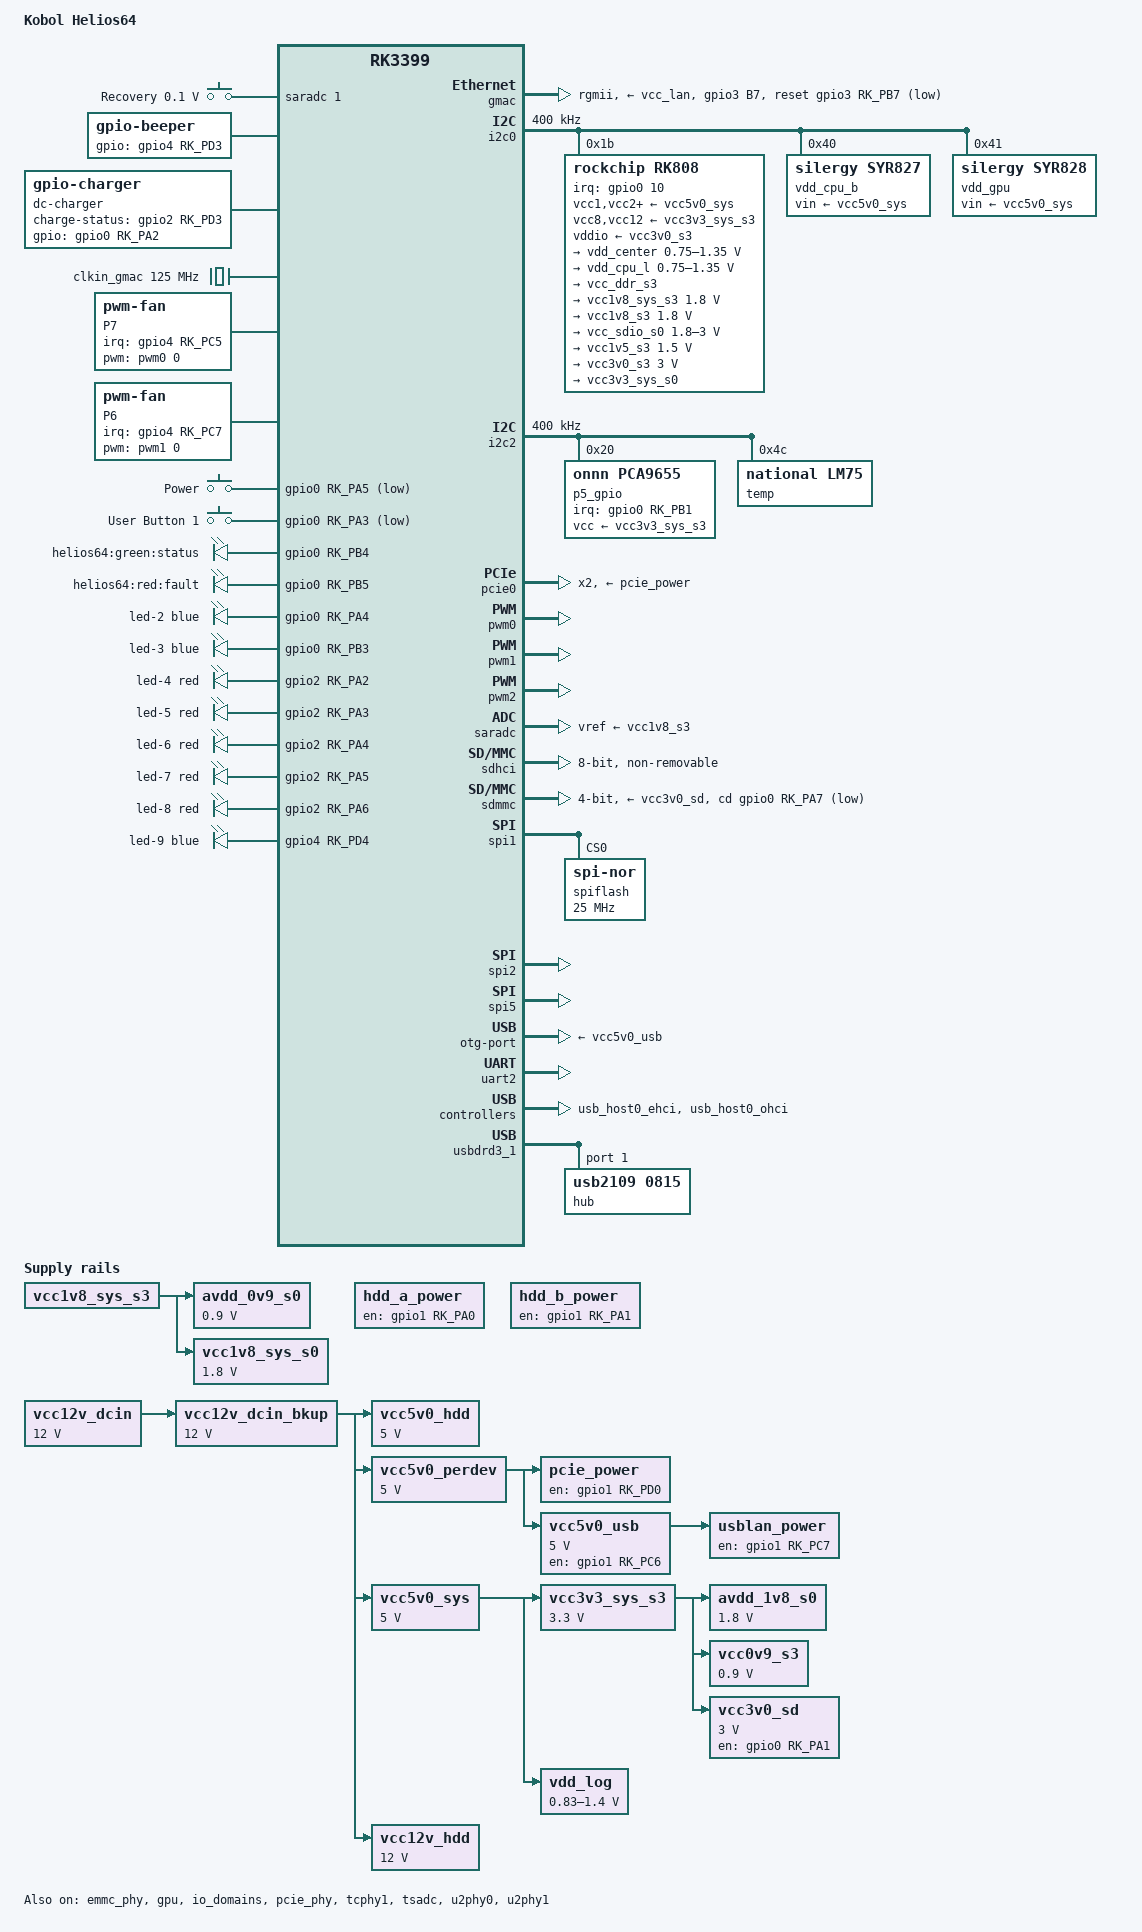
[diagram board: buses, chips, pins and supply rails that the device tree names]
// SPDX-License-Identifier: (GPL-2.0+ OR MIT)
/*
 * Copyright (c) 2020 Aditya Prayoga <aditya@kobol.io>
 */

/*
 * The Kobol Helios64 is a board designed to operate as a NAS and optionally
 * ships with an enclosing that can host five 2.5" hard disks.
 *
 * See https://wiki.kobol.io/helios64/intro/ for further details.
 */

/dts-v1/;
#include <dt-bindings/input/input.h>
#include <dt-bindings/leds/common.h>
#include "rk3399.dtsi"

/ {
	model = "Kobol Helios64";
	compatible = "kobol,helios64", "rockchip,rk3399";

	aliases {
		ethernet0 = &gmac;
		mmc0 = &sdmmc;
		mmc1 = &sdhci;
	};

	adc-keys {
		compatible = "adc-keys";
		io-channels = <&saradc 1>;
		io-channel-names = "buttons";
		keyup-threshold-microvolt = <1800000>;
		poll-interval = <100>;

		button-recovery {
			label = "Recovery";
			linux,code = <BTN_1>;
			press-threshold-microvolt = <100000>;
		};
	};

	avdd_0v9_s0: regulator-avdd-0v9-s0 {
		compatible = "regulator-fixed";
		regulator-name = "avdd_0v9_s0";
		regulator-always-on;
		regulator-boot-on;
		regulator-min-microvolt = <900000>;
		regulator-max-microvolt = <900000>;
		vin-supply = <&vcc1v8_sys_s3>;
	};

	avdd_1v8_s0: regulator-avdd-1v8-s0 {
		compatible = "regulator-fixed";
		regulator-name = "avdd_1v8_s0";
		regulator-always-on;
		regulator-boot-on;
		regulator-min-microvolt = <1800000>;
		regulator-max-microvolt = <1800000>;
		vin-supply = <&vcc3v3_sys_s3>;
	};

	beeper {
		compatible = "gpio-beeper";
		gpios = <&gpio4 RK_PD3 GPIO_ACTIVE_HIGH>;
	};

	chosen {
		stdout-path = "serial2:1500000n8";
	};

	dc-charger {
		compatible = "gpio-charger";
		charger-type = "mains";
		charge-status-gpios = <&gpio2 RK_PD3 GPIO_ACTIVE_HIGH>;
		gpios = <&gpio0 RK_PA2 GPIO_ACTIVE_HIGH>;
		pinctrl-names = "default";
		pinctrl-0 = <&dcin_good>, <&charger_status>;
	};

	clkin_gmac: external-gmac-clock {
		compatible = "fixed-clock";
		clock-frequency = <125000000>;
		clock-output-names = "clkin_gmac";
		#clock-cells = <0>;
	};

	fan1 {
		compatible = "pwm-fan";
		label = "P7";
		pwms = <&pwm0 0 40000 0>;
		cooling-levels = <0 80 170 255>;
		interrupt-parent = <&gpio4>;
		interrupts = <RK_PC5 IRQ_TYPE_EDGE_FALLING>;
		pinctrl-names = "default";
		pinctrl-0 = <&fan1_sense>;
	};

	fan2 {
		compatible = "pwm-fan";
		label = "P6";
		pwms = <&pwm1 0 40000 0>;
		cooling-levels = <0 80 170 255>;
		interrupt-parent = <&gpio4>;
		interrupts = <RK_PC7 IRQ_TYPE_EDGE_FALLING>;
		pinctrl-names = "default";
		pinctrl-0 = <&fan2_sense>;
	};

	gpio-keys {
		compatible = "gpio-keys";
		pinctrl-names = "default";
		pinctrl-0 = <&pwr_btn &user1_btn>;

		button-power {
			debounce-interval = <100>;
			gpios = <&gpio0 RK_PA5 GPIO_ACTIVE_LOW>;
			label = "Power";
			linux,code = <KEY_POWER>;
			wakeup-source;
		};

		button-user1 {
			debounce-interval = <100>;
			gpios = <&gpio0 RK_PA3 GPIO_ACTIVE_LOW>;
			label = "User Button 1";
			linux,code = <BTN_0>;
		};
	};

	leds {
		compatible = "gpio-leds";
		pinctrl-names = "default";
		pinctrl-0 = <&sys_grn_led_on &sys_red_led_on &netw_act_led_on
			     &usb3_act_led_on &sata_err_led_on &sata_act_led>;

		led-0 {
			label = "helios64:green:status";
			gpios = <&gpio0 RK_PB4 GPIO_ACTIVE_HIGH>;
			default-state = "on";
		};

		led-1 {
			label = "helios64:red:fault";
			gpios = <&gpio0 RK_PB5 GPIO_ACTIVE_HIGH>;
			default-state = "keep";
		};

		led-2 {
			color = <LED_COLOR_ID_BLUE>;
			function = LED_FUNCTION_LAN;
			gpios = <&gpio0 RK_PA4 GPIO_ACTIVE_HIGH>;
		};

		led-3 {
			color = <LED_COLOR_ID_BLUE>;
			function = LED_FUNCTION_USB;
			gpios = <&gpio0 RK_PB3 GPIO_ACTIVE_HIGH>;
		};

		led-4 {
			color = <LED_COLOR_ID_RED>;
			function = LED_FUNCTION_DISK_ERR;
			function-enumerator = <1>;
			gpios = <&gpio2 RK_PA2 GPIO_ACTIVE_HIGH>;
		};

		led-5 {
			color = <LED_COLOR_ID_RED>;
			function = LED_FUNCTION_DISK_ERR;
			function-enumerator = <2>;
			gpios = <&gpio2 RK_PA3 GPIO_ACTIVE_HIGH>;
		};

		led-6 {
			color = <LED_COLOR_ID_RED>;
			function = LED_FUNCTION_DISK_ERR;
			function-enumerator = <3>;
			gpios = <&gpio2 RK_PA4 GPIO_ACTIVE_HIGH>;
		};

		led-7 {
			color = <LED_COLOR_ID_RED>;
			function = LED_FUNCTION_DISK_ERR;
			function-enumerator = <4>;
			gpios = <&gpio2 RK_PA5 GPIO_ACTIVE_HIGH>;
		};

		led-8 {
			color = <LED_COLOR_ID_RED>;
			function = LED_FUNCTION_DISK_ERR;
			function-enumerator = <5>;
			gpios = <&gpio2 RK_PA6 GPIO_ACTIVE_HIGH>;
		};

		led-9 {
			color = <LED_COLOR_ID_BLUE>;
			function = LED_FUNCTION_DISK_ACTIVITY;
			gpios = <&gpio4 RK_PD4 GPIO_ACTIVE_HIGH>;
			default-state = "on";
		};
	};

	hdd_a_power: regulator-hdd-a-power {
		compatible = "regulator-fixed";
		enable-active-high;
		gpio = <&gpio1 RK_PA0 GPIO_ACTIVE_HIGH>;
		pinctrl-0 = <&hdd_a_power_en>;
		pinctrl-names = "default";
		regulator-always-on;
		regulator-boot-on;
		regulator-name = "hdd_a_power";
		startup-delay-us = <2000000>;
	};

	hdd_b_power: regulator-hdd-b-power {
		compatible = "regulator-fixed";
		enable-active-high;
		gpio = <&gpio1 RK_PA1 GPIO_ACTIVE_HIGH>;
		pinctrl-0 = <&hdd_b_power_en>;
		pinctrl-names = "default";
		regulator-always-on;
		regulator-boot-on;
		regulator-name = "hdd_b_power";
		startup-delay-us = <2000000>;
	};

	pcie_power: regulator-pcie-power {
		compatible = "regulator-fixed";
		enable-active-high;
		gpio = <&gpio1 RK_PD0 GPIO_ACTIVE_HIGH>;
		pinctrl-0 = <&pcie_pwr>;
		pinctrl-names = "default";
		regulator-boot-on;
		regulator-name = "pcie_power";
		startup-delay-us = <10000>;
		vin-supply = <&vcc5v0_perdev>;
	};

	usblan_power: regulator-usblan-power {
		compatible = "regulator-fixed";
		enable-active-high;
		gpio = <&gpio1 RK_PC7 GPIO_ACTIVE_HIGH>;
		pinctrl-names = "default";
		pinctrl-0 = <&usb_lan_en>;
		regulator-name = "usblan_power";
		regulator-always-on;
		regulator-boot-on;
		vin-supply = <&vcc5v0_usb>;
	};

	vcc0v9_s3: regulator-vcc0v9-s3 {
		compatible = "regulator-fixed";
		regulator-name = "vcc0v9_s3";
		regulator-always-on;
		regulator-boot-on;
		regulator-min-microvolt = <900000>;
		regulator-max-microvolt = <900000>;
		vin-supply = <&vcc3v3_sys_s3>;
	};

	vcc1v8_sys_s0: regulator-vcc1v8-sys-s0 {
		compatible = "regulator-fixed";
		regulator-name = "vcc1v8_sys_s0";
		regulator-always-on;
		regulator-boot-on;
		regulator-min-microvolt = <1800000>;
		regulator-max-microvolt = <1800000>;
		vin-supply = <&vcc1v8_sys_s3>;
	};

	vcc3v0_sd: regulator-vcc3v0-sd {
		compatible = "regulator-fixed";
		enable-active-high;
		gpio = <&gpio0 RK_PA1 GPIO_ACTIVE_HIGH>;
		regulator-name = "vcc3v0_sd";
		regulator-boot-on;
		regulator-min-microvolt = <3000000>;
		regulator-max-microvolt = <3000000>;
		pinctrl-names = "default";
		pinctrl-0 = <&sdmmc0_pwr_h>;
		vin-supply = <&vcc3v3_sys_s3>;
	};

	vcc3v3_sys_s3: vcc_lan: regulator-vcc3v3-sys-s3 {
		compatible = "regulator-fixed";
		regulator-name = "vcc3v3_sys_s3";
		regulator-always-on;
		regulator-boot-on;
		regulator-min-microvolt = <3300000>;
		regulator-max-microvolt = <3300000>;
		vin-supply = <&vcc5v0_sys>;

		regulator-state-mem {
			regulator-on-in-suspend;
		};
	};

	vcc5v0_hdd: regulator-vcc5v0-hdd {
		compatible = "regulator-fixed";
		regulator-name = "vcc5v0_hdd";
		regulator-always-on;
		regulator-boot-on;
		regulator-min-microvolt = <5000000>;
		regulator-max-microvolt = <5000000>;
		vin-supply = <&vcc12v_dcin_bkup>;
	};

	vcc5v0_perdev: regulator-vcc5v0-perdev {
		compatible = "regulator-fixed";
		regulator-name = "vcc5v0_perdev";
		regulator-always-on;
		regulator-boot-on;
		regulator-min-microvolt = <5000000>;
		regulator-max-microvolt = <5000000>;
		vin-supply = <&vcc12v_dcin_bkup>;
	};

	vcc5v0_sys: regulator-vcc5v0-sys {
		compatible = "regulator-fixed";
		regulator-name = "vcc5v0_sys";
		regulator-always-on;
		regulator-boot-on;
		regulator-min-microvolt = <5000000>;
		regulator-max-microvolt = <5000000>;
		vin-supply = <&vcc12v_dcin_bkup>;

		regulator-state-mem {
			regulator-on-in-suspend;
		};
	};

	vcc5v0_usb: regulator-vcc5v0-usb {
		compatible = "regulator-fixed";
		enable-active-high;
		gpio = <&gpio1 RK_PC6 GPIO_ACTIVE_HIGH>;
		pinctrl-names = "default";
		pinctrl-0 = <&vcc5v0_usb_en>;
		regulator-name = "vcc5v0_usb";
		regulator-always-on;
		regulator-boot-on;
		regulator-min-microvolt = <5000000>;
		regulator-max-microvolt = <5000000>;
		vin-supply = <&vcc5v0_perdev>;
	};

	vcc12v_dcin: regulator-vcc12v-dcin {
		compatible = "regulator-fixed";
		regulator-name = "vcc12v_dcin";
		regulator-always-on;
		regulator-boot-on;
		regulator-min-microvolt = <12000000>;
		regulator-max-microvolt = <12000000>;
	};

	vcc12v_dcin_bkup: regulator-vcc12v-dcin-bkup {
		compatible = "regulator-fixed";
		regulator-name = "vcc12v_dcin_bkup";
		regulator-always-on;
		regulator-boot-on;
		regulator-min-microvolt = <12000000>;
		regulator-max-microvolt = <12000000>;
		vin-supply = <&vcc12v_dcin>;
	};

	vcc12v_hdd: regulator-vcc12v-hdd {
		compatible = "regulator-fixed";
		regulator-name = "vcc12v_hdd";
		regulator-always-on;
		regulator-boot-on;
		regulator-min-microvolt = <12000000>;
		regulator-max-microvolt = <12000000>;
		vin-supply = <&vcc12v_dcin_bkup>;
	};

	vdd_log: regulator-vdd-log {
		compatible = "pwm-regulator";
		pwms = <&pwm2 0 25000 1>;
		pwm-supply = <&vcc5v0_sys>;
		regulator-name = "vdd_log";
		regulator-always-on;
		regulator-boot-on;
		regulator-min-microvolt = <830000>;
		regulator-max-microvolt = <1400000>;
	};
};

&cpu_b0 {
	cpu-supply = <&vdd_cpu_b>;
};

&cpu_b1 {
	cpu-supply = <&vdd_cpu_b>;
};

&cpu_l0 {
	cpu-supply = <&vdd_cpu_l>;
};

&cpu_l1 {
	cpu-supply = <&vdd_cpu_l>;
};

&cpu_l2 {
	cpu-supply = <&vdd_cpu_l>;
};

&cpu_l3 {
	cpu-supply = <&vdd_cpu_l>;
};

&emmc_phy {
	rockchip,enable-strobe-pulldown;
	status = "okay";
};

&gmac {
	assigned-clock-parents = <&clkin_gmac>;
	assigned-clocks = <&cru SCLK_RMII_SRC>;
	clock_in_out = "input";
	phy-mode = "rgmii";
	phy-supply = <&vcc_lan>;
	pinctrl-names = "default";
	pinctrl-0 = <&rgmii_pins &gphy_reset>;
	rx_delay = <0x20>;
	tx_delay = <0x28>;
	snps,reset-active-low;
	snps,reset-delays-us = <0 10000 50000>;
	snps,reset-gpio = <&gpio3 RK_PB7 GPIO_ACTIVE_LOW>;
	status = "okay";
};

/* Line names follow the Helios64 Rev1.2 schematic */
&gpio0 {
	gpio-line-names =
		/* GPIO0 A0-A7 */
		"RTC_CLK0_SOC", "SDMMC0_PWR_H", "VCC12V_DCIN_GOOD", "USR1_SWITCH#",
		"NETW_ACT_LED_ON", "PWR_KEY_L", "PWR_LED_OFF", "SDMMC0_DET_L",
		/* GPIO0 B0-B5 */
		"LAN_WAKE#", "EXP16_INT#", "PMIC_INT#", "USB3_ACT_LED_ON",
		"SYS_GRN_LED_ON", "SYS_RED_LED_ON";
};

&gpio1 {
	gpio-line-names =
		/* GPIO1 A0-A7 */
		"HDD_A_ON", "HDD_B_ON", "TYPEC0_CC_INT_L", "VCC5V0_TYPEC0_EN",
		"USB_MUX_HS", "PMIC_SLEEP_H", "OTP_OUT_H", "SOC_SO",
		/* GPIO1 B0-B7 */
		"SOC_SI", "SOC_CK", "SOC_CE#", "I2C4_SDA_TYPEC",
		"I2C4_SCL_TYPEC", "USB_MUX_OE", "GPU_SLEEP_H", "I2C0_SDA_PMIC",
		/* GPIO1 C0-C7 */
		"I2C0_SCL_PMIC", "CPU_SLEEP_B_H", "SOC_WP#", "LOG_DVS_PWM",
		"I2C8_SDA", "I2C8_SCL", "USB3_EN", "USB3LAN_PWR",
		/* GPIO1 D0 */
		"PCIE_PWR";
};

&gpio2 {
	gpio-line-names =
		/* GPIO2 A0-A7 */
		"I2C2_SDA_TEMP_EXP", "I2C2_SCL_TEMP_EXP", "SATA_ERR0", "SATA_ERR1",
		"SATA_ERR2", "SATA_ERR3", "SATA_ERR4", "I2C7_SDA",
		/* GPIO2 B0-B7 */
		"I2C7_SCL", "SPI2_RXD", "SPI2_TXD", "SPI2_CLK",
		"SPI2_CSN0", "", "", "",
		/* GPIO2 C0-C7 */
		"UART0_RX", "UART0_TX", "", "",
		"SATA_SO_LV", "SATA_SI_LV", "SATA_CK_LV", "SATA_CE#_LV",
		/* GPIO2 D0-D4 */
		"SATA_WP#_LV", "PCIE_CLKREQ_L", "", "CHARGER_STATUS#",
		"PCIE_PERST_L";
};

&gpio3 {
	gpio-line-names =
		/* GPIO3 A0-A7 */
		"RGMII_TXD2", "RGMII_TXD3", "RGMII_RXD2", "RGMII_RXD3",
		"RGMII_TXD0", "RGMII_TXD1", "RGMII_RXD0", "RGMII_RXD1",
		/* GPIO3 B0-B7 */
		"GMAC_MDC", "RGMII_RXCTL", "", "GMAC_CLK",
		"RGMII_TXCTL", "GMAC_MDIO", "RGMII_RXC", "GPHY_RST#",
		/* GPIO3 C0-C7 */
		"", "RGMII_TXC", "", "",
		"", "", "", "",
		/* GPIO3 D0-D7 */
		"", "", "", "",
		"", "", "ERR1_B", "ERR1_A";
};

&gpio4 {
	gpio-line-names =
		/* GPIO4 A0-A7 */
		"", "ERR0_B", "", "",
		"", "ERR0_A", "", "",
		/* GPIO4 B0-B7 */
		"SDMMC0_D0", "SDMMC0_D1", "SDMMC0_D2", "SDMMC0_D3",
		"SDMMC0_CLKOUT", "SDMMC0_CMD", "", "",
		/* GPIO4 C0-C7 */
		"", "", "FAN1_PWM", "UART2DBG_RX",
		"UART2DBG_TX", "FAN1_SENSE", "FAN2_PWM", "FAN2_SENSE",
		/* GPIO4 D0-D6 */
		"SATA_SPI_FLSH", "AUTO_ON_EN_D", "AUTO_ON_EN_CLK", "BUZZER_ON",
		"SATA_ACT_LED", "BOARD_REV_ID0", "BOARD_REV_ID1";
};

&gpu {
	mali-supply = <&vdd_gpu>;
	status = "okay";
};

&i2c0 {
	clock-frequency = <400000>;
	i2c-scl-rising-time-ns = <168>;
	i2c-scl-falling-time-ns = <4>;
	status = "okay";

	rk808: pmic@1b {
		compatible = "rockchip,rk808";
		reg = <0x1b>;
		interrupt-parent = <&gpio0>;
		interrupts = <10 IRQ_TYPE_LEVEL_LOW>;
		clock-output-names = "xin32k", "rk808-clkout2";
		pinctrl-names = "default";
		pinctrl-0 = <&pmic_int_l>;
		system-power-controller;
		vcc1-supply = <&vcc5v0_sys>;
		vcc2-supply = <&vcc5v0_sys>;
		vcc3-supply = <&vcc5v0_sys>;
		vcc4-supply = <&vcc5v0_sys>;
		vcc6-supply = <&vcc5v0_sys>;
		vcc7-supply = <&vcc5v0_sys>;
		vcc8-supply = <&vcc3v3_sys_s3>;
		vcc9-supply = <&vcc5v0_sys>;
		vcc10-supply = <&vcc5v0_sys>;
		vcc11-supply = <&vcc5v0_sys>;
		vcc12-supply = <&vcc3v3_sys_s3>;
		vddio-supply = <&vcc3v0_s3>;
		wakeup-source;
		#clock-cells = <1>;

		regulators {
			vdd_center: DCDC_REG1 {
				regulator-name = "vdd_center";
				regulator-always-on;
				regulator-boot-on;
				regulator-min-microvolt = <750000>;
				regulator-max-microvolt = <1350000>;
				regulator-ramp-delay = <6001>;
			};

			vdd_cpu_l: DCDC_REG2 {
				regulator-name = "vdd_cpu_l";
				regulator-always-on;
				regulator-boot-on;
				regulator-min-microvolt = <750000>;
				regulator-max-microvolt = <1350000>;
				regulator-ramp-delay = <6001>;

				regulator-state-mem {
					regulator-off-in-suspend;
				};
			};

			vcc_ddr_s3: DCDC_REG3 {
				regulator-name = "vcc_ddr_s3";
				regulator-always-on;
				regulator-boot-on;

				regulator-state-mem {
					regulator-on-in-suspend;
				};
			};

			vcc1v8_sys_s3: DCDC_REG4 {
				regulator-name = "vcc1v8_sys_s3";
				regulator-always-on;
				regulator-boot-on;
				regulator-min-microvolt = <1800000>;
				regulator-max-microvolt = <1800000>;

				regulator-state-mem {
					regulator-on-in-suspend;
					regulator-suspend-microvolt = <1800000>;
				};
			};

			vcc1v8_s3: LDO_REG3 {
				regulator-name = "vcc1v8_s3";
				regulator-always-on;
				regulator-boot-on;
				regulator-min-microvolt = <1800000>;
				regulator-max-microvolt = <1800000>;

				regulator-state-mem {
					regulator-on-in-suspend;
					regulator-suspend-microvolt = <1800000>;
				};
			};

			vcc_sdio_s0: LDO_REG4 {
				regulator-name = "vcc_sdio_s0";
				regulator-always-on;
				regulator-boot-on;
				regulator-min-microvolt = <1800000>;
				regulator-max-microvolt = <3000000>;

				regulator-state-mem {
					regulator-on-in-suspend;
					regulator-suspend-microvolt = <3000000>;
				};
			};

			vcc1v5_s3: LDO_REG6 {
				regulator-name = "vcc1v5_s3";
				regulator-always-on;
				regulator-boot-on;
				regulator-min-microvolt = <1500000>;
				regulator-max-microvolt = <1500000>;

				regulator-state-mem {
					regulator-on-in-suspend;
					regulator-suspend-microvolt = <1500000>;
				};
			};

			vcc3v0_s3: LDO_REG8 {
				regulator-name = "vcc3v0_s3";
				regulator-always-on;
				regulator-boot-on;
				regulator-min-microvolt = <3000000>;
				regulator-max-microvolt = <3000000>;

				regulator-state-mem {
					regulator-on-in-suspend;
					regulator-suspend-microvolt = <3000000>;
				};
			};

			vcc3v3_sys_s0: SWITCH_REG1 {
				regulator-name = "vcc3v3_sys_s0";
				regulator-always-on;
				regulator-boot-on;

				regulator-state-mem {
					regulator-off-in-suspend;
				};
			};
		};
	};

	vdd_cpu_b: regulator@40 {
		compatible = "silergy,syr827";
		reg = <0x40>;
		fcs,suspend-voltage-selector = <1>;
		regulator-name = "vdd_cpu_b";
		regulator-always-on;
		regulator-boot-on;
		regulator-min-microvolt = <712500>;
		regulator-max-microvolt = <1500000>;
		regulator-ramp-delay = <40000>;
		vin-supply = <&vcc5v0_sys>;

		regulator-state-mem {
			regulator-off-in-suspend;
		};
	};

	vdd_gpu: regulator@41 {
		compatible = "silergy,syr828";
		reg = <0x41>;
		fcs,suspend-voltage-selector = <1>;
		pinctrl-names = "default";
		pinctrl-0 = <&vsel2_pin>;
		regulator-name = "vdd_gpu";
		regulator-always-on;
		regulator-boot-on;
		regulator-min-microvolt = <712500>;
		regulator-max-microvolt = <1500000>;
		regulator-ramp-delay = <1000>;
		vin-supply = <&vcc5v0_sys>;

		regulator-state-mem {
			regulator-off-in-suspend;
		};
	};
};

&i2c2 {
	clock-frequency = <400000>;
	i2c-scl-rising-time-ns = <160>;
	i2c-scl-falling-time-ns = <30>;
	status = "okay";

	p5_gpio: gpio@20 {
		compatible = "onnn,pca9655", "nxp,pca9555";
		reg = <0x20>;
		gpio-controller;
		#gpio-cells = <2>;
		/* All 16 lines go to pins 4-19 of the P5 GPIO header */
		gpio-line-names = "PIN_4", "PIN_5", "PIN_6", "PIN_7",
				  "PIN_8", "PIN_9", "PIN_10", "PIN_11",
				  "PIN_12", "PIN_13", "PIN_14", "PIN_15",
				  "PIN_16", "PIN_17", "PIN_18", "PIN_19";
		interrupt-controller;
		#interrupt-cells = <2>;
		interrupt-parent = <&gpio0>;
		interrupts = <RK_PB1 IRQ_TYPE_LEVEL_LOW>;
		pinctrl-names = "default";
		pinctrl-0 = <&exp16_int_l>;
		vcc-supply = <&vcc3v3_sys_s3>;
	};

	temp@4c {
		compatible = "national,lm75";
		reg = <0x4c>;
	};
};

&io_domains {
	audio-supply = <&vcc1v8_sys_s0>;
	bt656-supply = <&vcc1v8_sys_s0>;
	gpio1830-supply = <&vcc3v0_s3>;
	sdmmc-supply = <&vcc_sdio_s0>;
	status = "okay";
};

&pcie_phy {
	status = "okay";
};

&pcie0 {
	ep-gpios = <&gpio2 RK_PD4 GPIO_ACTIVE_HIGH>;
	num-lanes = <2>;
	status = "okay";

	vpcie12v-supply = <&vcc12v_dcin>;
	vpcie3v3-supply = <&pcie_power>;
	vpcie1v8-supply = <&avdd_1v8_s0>;
	vpcie0v9-supply = <&avdd_0v9_s0>;
};

&pinctrl {
	buttons {
		pwr_btn: pwr-btn {
			rockchip,pins = <0 RK_PA5 RK_FUNC_GPIO &pcfg_pull_up>;
		};

		user1_btn: user1-btn {
			rockchip,pins = <0 RK_PA3 RK_FUNC_GPIO &pcfg_pull_none>;
		};
	};

	expander {
		exp16_int_l: exp16-int-l {
			rockchip,pins = <0 RK_PB1 RK_FUNC_GPIO &pcfg_pull_none>;
		};
	};

	fan {
		fan1_sense: fan1-sense {
			rockchip,pins = <4 RK_PC5 RK_FUNC_GPIO &pcfg_pull_none>;
		};

		fan2_sense: fan2-sense {
			rockchip,pins = <4 RK_PC7 RK_FUNC_GPIO &pcfg_pull_none>;
		};
	};

	charger {
		charger_status: charger-status {
			rockchip,pins = <2 RK_PD3 RK_FUNC_GPIO &pcfg_pull_none>;
		};

		dcin_good: dcin-good {
			rockchip,pins = <0 RK_PA2 RK_FUNC_GPIO &pcfg_pull_none>;
		};
	};

	gmac {
		gphy_reset: gphy-reset {
			rockchip,pins = <3 RK_PB7 RK_FUNC_GPIO &pcfg_output_low>;
		};
	};

	leds {
		netw_act_led_on: netw-act-led-on {
			rockchip,pins = <0 RK_PA4 RK_FUNC_GPIO &pcfg_pull_down>;
		};

		sata_act_led: sata-act-led {
			rockchip,pins = <4 RK_PD4 RK_FUNC_GPIO &pcfg_pull_down>;
		};

		sata_err_led_on: sata-err-led-on {
			rockchip,pins = <2 RK_PA2 RK_FUNC_GPIO &pcfg_pull_down>,
					<2 RK_PA3 RK_FUNC_GPIO &pcfg_pull_down>,
					<2 RK_PA4 RK_FUNC_GPIO &pcfg_pull_down>,
					<2 RK_PA5 RK_FUNC_GPIO &pcfg_pull_down>,
					<2 RK_PA6 RK_FUNC_GPIO &pcfg_pull_down>;
		};

		sys_grn_led_on: sys-grn-led-on {
			rockchip,pins = <0 RK_PB4 RK_FUNC_GPIO &pcfg_pull_down>;
		};

		sys_red_led_on: sys-red-led-on {
			rockchip,pins = <0 RK_PB5 RK_FUNC_GPIO &pcfg_pull_down>;
		};

		usb3_act_led_on: usb3-act-led-on {
			rockchip,pins = <0 RK_PB3 RK_FUNC_GPIO &pcfg_pull_down>;
		};
	};

	pcie {
		pcie_pwr: pcie-pwr {
			rockchip,pins =
				<1 RK_PD0 RK_FUNC_GPIO &pcfg_pull_none>;
		};
	};

	pmic {
		pmic_int_l: pmic-int-l {
			rockchip,pins = <0 RK_PB2 RK_FUNC_GPIO &pcfg_pull_none>;
		};

		vsel2_pin: vsel2-pin {
			rockchip,pins = <1 RK_PB6 RK_FUNC_GPIO &pcfg_pull_down>;
		};
	};

	power {
		hdd_a_power_en: hdd-a-power-en {
			rockchip,pins = <1 RK_PA0 RK_FUNC_GPIO &pcfg_pull_none>;
		};

		hdd_b_power_en: hdd-b-power-en {
			rockchip,pins = <1 RK_PA1 RK_FUNC_GPIO &pcfg_pull_none>;
		};

		vcc5v0_usb_en: vcc5v0-usb-en {
			rockchip,pins = <1 RK_PC6 RK_FUNC_GPIO &pcfg_pull_none>;
		};

		usb_lan_en: usb-lan-en {
			rockchip,pins = <1 RK_PC7 RK_FUNC_GPIO &pcfg_pull_none>;
		};
	};

	vcc3v0-sd {
		sdmmc0_pwr_h: sdmmc0-pwr-h {
			rockchip,pins = <0 RK_PA1 RK_FUNC_GPIO &pcfg_pull_up>;
		};
	};
};

&pmu_io_domains {
	pmu1830-supply = <&vcc3v0_s3>;
	status = "okay";
};

&pwm0 {
	/* pwm-fan on P7 */
	status = "okay";
};

&pwm1 {
	/* pwm-fan on P6 */
	status = "okay";
};

&pwm2 {
	status = "okay";
};

&saradc {
	vref-supply = <&vcc1v8_s3>;
	status = "okay";
};

&sdhci {
	assigned-clock-rates = <150000000>;
	bus-width = <8>;
	mmc-hs200-1_8v;
	mmc-hs400-1_8v;
	mmc-hs400-enhanced-strobe;
	non-removable;
	vqmmc-supply = <&vcc1v8_sys_s0>;
	status = "okay";
};

&sdmmc {
	bus-width = <4>;
	cap-sd-highspeed;
	cd-gpios = <&gpio0 RK_PA7 GPIO_ACTIVE_LOW>;
	disable-wp;
	pinctrl-names = "default";
	pinctrl-0 = <&sdmmc_clk &sdmmc_cmd &sdmmc_cd &sdmmc_bus4>;
	sd-uhs-sdr104;
	vmmc-supply = <&vcc3v0_sd>;
	vqmmc-supply = <&vcc_sdio_s0>;
	status = "okay";
};

&spi1 {
	status = "okay";

	spiflash: flash@0 {
		compatible = "jedec,spi-nor";
		reg = <0x0>;
		spi-max-frequency = <25000000>;
		status = "okay";
		m25p,fast-read;
	};
};

/* UEXT connector */
&spi2 {
	status = "okay";
};

&spi5 {
	status = "okay";
};

&tcphy1 {
	/* phy for &usbdrd_dwc3_1 */
	status = "okay";
};

&tsadc {
	/* tshut mode 0:CRU 1:GPIO */
	rockchip,hw-tshut-mode = <1>;
	/* tshut polarity 0:LOW 1:HIGH */
	rockchip,hw-tshut-polarity = <1>;
	status = "okay";
};

&u2phy0 {
	status = "okay";

	host-port {
		/* phy for &usb_host0_ehci and &usb_host0_ohci, M.2 slot */
		status = "okay";
	};
};

&u2phy1 {
	status = "okay";

	otg-port {
		/* phy for &usbdrd_dwc3_1 */
		phy-supply = <&vcc5v0_usb>;
		status = "okay";
	};
};

&uart2 {
	status = "okay";
};

&usb_host0_ehci {
	status = "okay";
};

&usb_host0_ohci {
	status = "okay";
};

&usbdrd3_1 {
	status = "okay";

	usb@fe900000 {
		dr_mode = "host";
		status = "okay";
		#address-cells = <1>;
		#size-cells = <0>;

		hub@1 {
			compatible = "usb2109,0815";
			reg = <1>;
			#address-cells = <1>;
			#size-cells = <0>;

			port@1 {
				reg = <1>;
				#trigger-source-cells = <0>;
			};

			port@2 {
				reg = <2>;
				#trigger-source-cells = <0>;
			};

			port@3 {
				reg = <3>;
				#trigger-source-cells = <0>;
			};

			device@4 {
				compatible = "usbbda,8156";
				reg = <4>;
				#address-cells = <2>;
				#size-cells = <0>;

				interface@0 {	/* interface 0 of configuration 1 */
					compatible = "usbifbda,8156.config1.0";
					reg = <0 1>;
				};
			};
		};
	};
};
